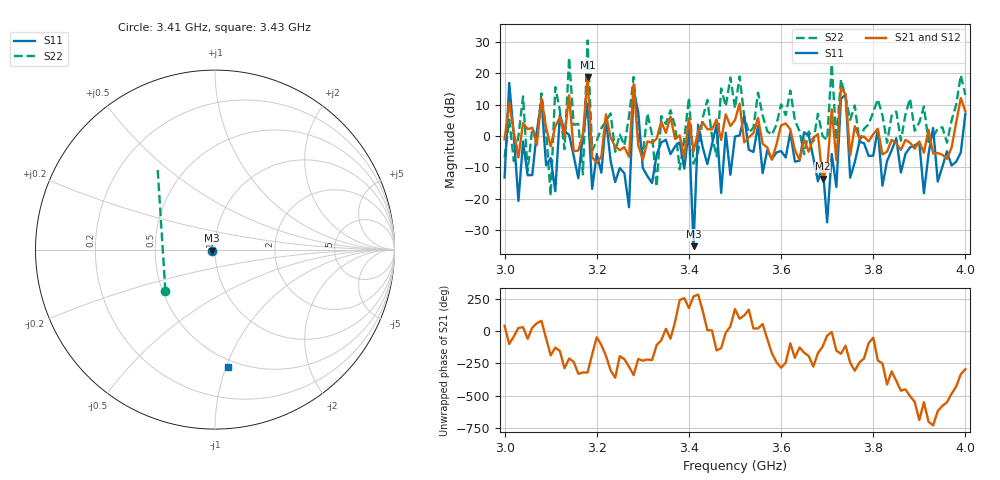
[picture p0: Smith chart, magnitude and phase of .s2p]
!Created with skrf (http://scikit-rf.org).
# Hz S RI R 50.0
!freq ReS11 ImS11 ReS21 ImS21 ReS12 ImS12 ReS22 ImS22
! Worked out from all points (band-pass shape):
!   101 points, 3 GHz to 4 GHz, reference 50 ohm
!   highest |S21| = 18.72 dB at 3.18 GHz (marker M1); lowest = -13.6 dB at 3.69 GHz (marker M2)
!   |S21| within 3 dB of the highest: 3.178364 GHz to 3.181175 GHz (2.811 MHz wide, 0.0884 % of centre); 3.27964 GHz to 3.280429 GHz (788.9 kHz wide, 0.0241 % of centre)
!   lowest |S11| = -35.2 dB at 3.41 GHz (marker M3), VSWR 1.04, Z = 48.4 - j0.617 ohm
!   |S11| at or under -10 dB: 3.047647 GHz to 3.061771 GHz (14.12 MHz wide, 0.462 % of centre); 3.233 GHz to 3.273 GHz (40.31 MHz wide, 1.24 % of centre); 3.3 GHz to 3.326 GHz (25.66 MHz wide, 0.774 % of centre) (the widest 3 of 22)
!   |S22| runs from -19.1 to 30.5 dB; largest |S21 - S12| = 2.4e-15
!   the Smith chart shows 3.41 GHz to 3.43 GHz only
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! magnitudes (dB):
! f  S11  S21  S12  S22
! 3 GHz  -13.3  -1.0  -1.0  -6.9
! 3.01 GHz  17.0  10.6  10.6  5.2
! 3.03 GHz  -20.7  -6.9  -6.9  -0.1
! 3.08 GHz  11.4  11.9  11.9  13.6
! 3.1 GHz  -7.1  -3.3  -3.3  -19.1
! 3.11 GHz  -17.7  3.0  3.0  15.6
! 3.13 GHz  1.6  -0.2  -0.2  -4.2
! 3.14 GHz  0.4  13.0  13.0  25.0
! 3.17 GHz  0.6  0.4  0.4  -12.3
! 3.18 GHz  10.4  18.7  18.7  30.5
! 3.19 GHz  -16.9  -6.8  -6.8  -4.7
! 3.34 GHz  -2.0  4.6  4.6  6.4
! 3.4 GHz  2.3  5.7  5.7  12.2
! 3.41 GHz  -35.2  -4.9  -4.9  -8.9
! 3.42 GHz  3.6  1.4  1.4  -5.1
! 3.5 GHz  -0.2  5.1  5.1  8.9
! 3.67 GHz  -7.0  -0.7  -0.7  -1.6
! 3.69 GHz  -9.2  -13.6  -13.6  0.0
! 3.7 GHz  -27.6  -10.5  -10.5  -1.3
! 3.73 GHz  11.9  15.4  15.4  18.1
! 3.84 GHz  -4.6  -1.2  -1.2  6.5
! 4 GHz  7.1  7.9  7.9  13.1
